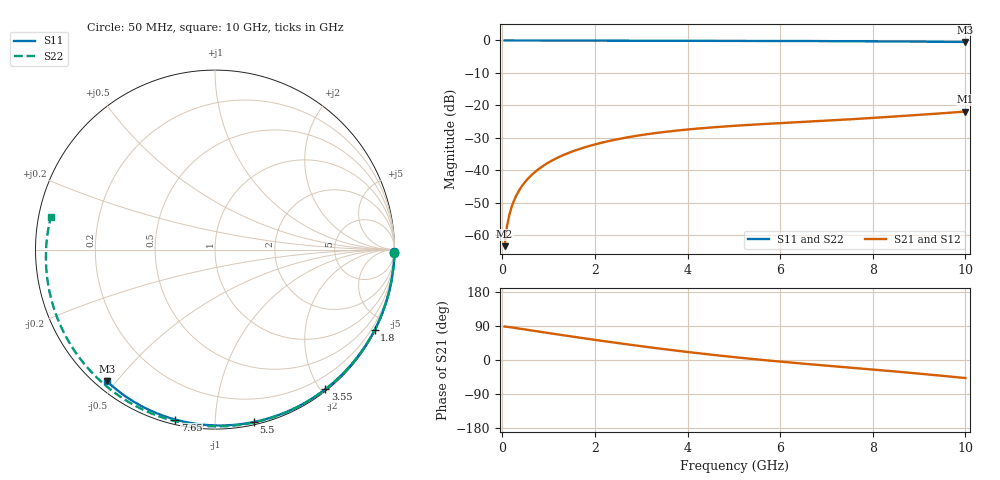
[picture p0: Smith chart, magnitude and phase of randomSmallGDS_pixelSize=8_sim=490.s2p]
! freq	dB(S11)	phase(S11)	dB(S12)	phase(S12)
!  dB(S21)	phase(S21)	dB(S22)	phase(S22)
!S-par simulation data
#  GHz  S  DB  R 50
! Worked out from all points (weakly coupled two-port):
!   200 points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, 50 MHz to 10 GHz, reference 50 ohm
!   highest |S21| = -21.90 dB at 10 GHz (marker M1); lowest = -63.4 dB at 50 MHz (marker M2)
!   lowest |S11| = -0.5 dB at 10 GHz (marker M3), VSWR 38.18, Z = 1.6 - j23.7 ohm
!   |S11| at or under -10 dB: nowhere
!   |S22| runs from -0.6 to 0.0 dB; largest |S21 - S12| = 0
!   S11 on the Smith chart (normalised r, x): 50 MHz: open; 1.8 GHz: 0.04, -4.19; 3.55 GHz: 0.02, -2.07; 5.5 GHz: 0.02, -1.25; 7.65 GHz: 0.02, -0.79; 10 GHz: 0.03, -0.47
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0.05  -0.00 -0.8  -63.36 88.3  -63.36 88.3  -0.00 -1.1
0.1  -0.00 -1.5  -57.35 87.7  -57.35 87.7  -0.00 -2.3
0.15  -0.00 -2.3  -53.84 86.9  -53.84 86.9  -0.00 -3.4
0.2  -0.00 -3.0  -51.34 86.0  -51.34 86.0  -0.01 -4.5
0.35  -0.01 -5.3  -46.51 83.2  -46.51 83.2  -0.01 -7.9
0.5  -0.01 -7.5  -43.45 80.4  -43.45 80.4  -0.02 -11.3
0.7  -0.01 -10.5  -40.58 76.6  -40.58 76.6  -0.02 -15.8
1  -0.02 -15.0  -37.58 71.0  -37.58 71.0  -0.03 -22.5
1.35  -0.03 -20.2  -35.12 64.6  -35.12 64.6  -0.04 -30.2
1.75  -0.04 -26.1  -33.05 57.5  -33.05 57.5  -0.05 -38.9
1.8  -0.04 -26.8  -32.83 56.6  -32.83 56.6  -0.05 -40.0
2.6  -0.05 -38.4  -30.11 42.9  -30.11 42.9  -0.08 -56.9
3.4  -0.07 -49.6  -28.36 30.1  -28.36 30.1  -0.10 -73.1
3.55  -0.08 -51.7  -28.10 27.8  -28.10 27.8  -0.11 -76.1
4.3  -0.09 -61.8  -27.04 16.9  -27.04 16.9  -0.13 -90.5
5.05  -0.12 -71.6  -26.26 7.0  -26.26 7.0  -0.17 -104.3
5.5  -0.13 -77.4  -25.86 1.5  -25.86 1.5  -0.19 -112.3
6.7  -0.19 -92.1  -24.93 -11.8  -24.93 -11.8  -0.26 -133.2
7.65  -0.24 -103.2  -24.17 -21.6  -24.17 -21.6  -0.34 -149.4
8.35  -0.29 -111.2  -23.54 -28.8  -23.54 -28.8  -0.41 -161.5
9.2  -0.37 -120.6  -22.73 -38.3  -22.73 -38.3  -0.50 -176.5
10  -0.46 -129.3  -21.90 -47.6  -21.90 -47.6  -0.61 168.7
